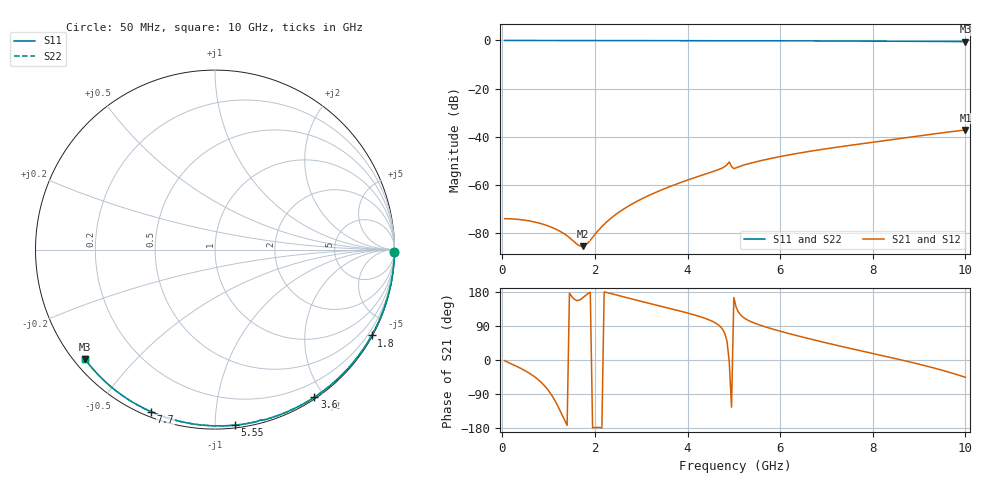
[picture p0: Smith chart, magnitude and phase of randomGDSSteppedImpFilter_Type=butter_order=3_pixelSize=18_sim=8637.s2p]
! freq	dB(S11)	phase(S11)	dB(S12)	phase(S12)
!  dB(S21)	phase(S21)	dB(S22)	phase(S22)
!S-par simulation data
#  GHz  S  DB  R 50
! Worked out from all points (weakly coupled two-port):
!   200 points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, 50 MHz to 10 GHz, reference 50 ohm
!   highest |S21| = -37.18 dB at 10 GHz (marker M1); lowest = -85.4 dB at 1.75 GHz (marker M2)
!   lowest |S11| = -0.5 dB at 10 GHz (marker M3), VSWR 37.00, Z = 1.53 - j18.2 ohm
!   |S11| at or under -10 dB: nowhere
!   |S22| runs from -0.5 to 0.0 dB; largest |S21 - S12| = 0
!   S11 on the Smith chart (normalised r, x): 50 MHz: open; 1.8 GHz: 0.03, -3.91; 3.6 GHz: 0.02, -1.88; 5.55 GHz: 0.02, -1.12; 7.7 GHz: 0.02, -0.68; 10 GHz: 0.03, -0.36
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0.05  -0.00 -0.8  -73.95 -1.7  -73.95 -1.7  -0.00 -0.8
0.75  -0.01 -12.1  -75.56 -49.3  -75.56 -49.3  -0.01 -12.1
1.35  -0.03 -21.6  -80.39 -160.1  -80.39 -160.1  -0.03 -21.6
1.75  -0.04 -27.9  -85.36 165.4  -85.36 165.4  -0.04 -27.9
1.8  -0.04 -28.7  -84.83 170.4  -84.83 170.4  -0.04 -28.7
2  -0.04 -31.8  -80.52 -178.0  -80.52 -178.0  -0.04 -31.8
2.3  -0.05 -36.4  -74.53 176.8  -74.53 176.8  -0.05 -36.5
2.55  -0.05 -40.3  -70.85 168.9  -70.85 168.9  -0.05 -40.3
2.95  -0.06 -46.4  -66.33 156.2  -66.33 156.2  -0.06 -46.4
3.4  -0.07 -53.1  -62.32 142.7  -62.32 142.7  -0.07 -53.1
3.6  -0.08 -56.0  -60.77 136.6  -60.77 136.6  -0.08 -56.1
4.7  -0.11 -71.9  -53.35 89.0  -53.35 89.0  -0.11 -71.9
4.8  -0.11 -73.3  -52.40 71.4  -52.40 71.4  -0.11 -73.4
4.9  -0.14 -74.8  -50.44 -2.7  -50.44 -2.7  -0.14 -74.8
4.95  -0.15 -75.2  -52.27 -124.5  -52.27 -124.5  -0.15 -75.3
5  -0.13 -75.9  -53.18 164.7  -53.18 164.7  -0.13 -75.9
5.05  -0.12 -76.7  -52.83 138.9  -52.83 138.9  -0.12 -76.7
5.55  -0.14 -83.6  -50.03 92.6  -50.03 92.6  -0.14 -83.6
6.7  -0.19 -98.8  -45.81 53.9  -45.81 53.9  -0.19 -98.9
7.7  -0.26 -111.6  -43.03 25.4  -43.03 25.4  -0.26 -111.6
8.35  -0.31 -119.7  -41.34 7.6  -41.34 7.6  -0.31 -119.8
10  -0.47 -140.0  -37.18 -45.6  -37.18 -45.6  -0.47 -140.0
